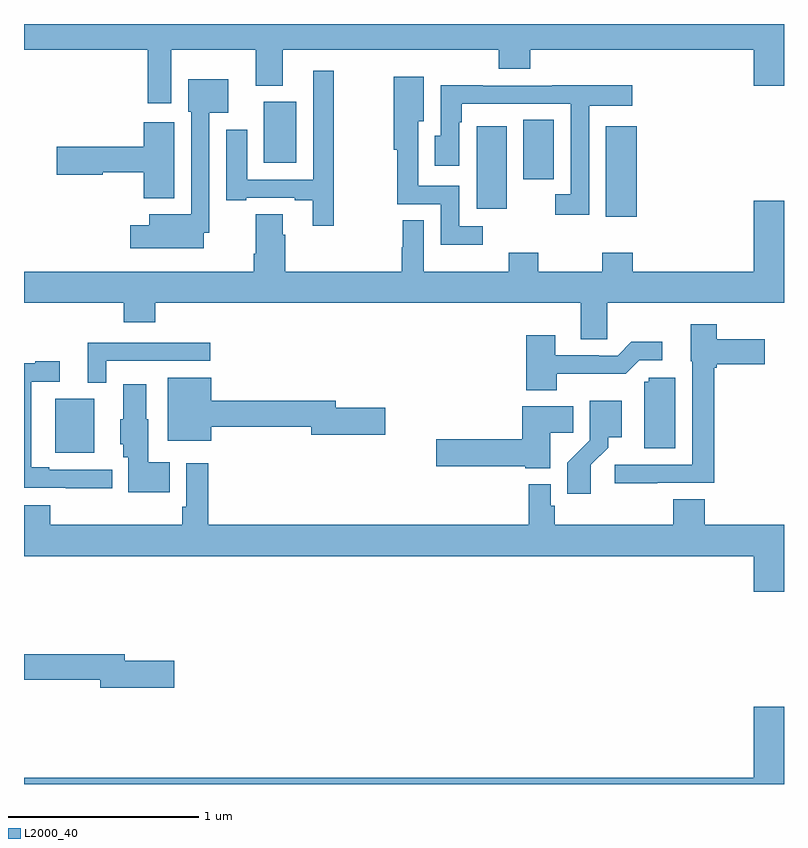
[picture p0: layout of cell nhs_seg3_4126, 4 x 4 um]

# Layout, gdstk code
import gdstk
lib = gdstk.Library(unit=1e-6, precision=1e-09)
def R(c, l, rs):  # rectangles x0, y0, x1, y1
    for r in rs: c.add(gdstk.rectangle(r[:2], r[2:], *l))
def P(c, l, *ps):  # polygons
    for p in ps: c.add(gdstk.Polygon(p, *l))
L2000_40 = (2000, 40)

nhs_seg3_4126 = lib.new_cell('nhs_seg3_4126')
R(nhs_seg3_4126, L2000_40, [(329.165,684.143,329.371,684.427), (332.063,685.386,332.224,685.861), (331.382,685.428,331.54,685.861), (331.628,685.584,331.789,685.895), (330.263,685.67,330.433,685.99)])
P(nhs_seg3_4126, L2000_40, [(329.776,686.264),(330.221,686.264),(330.221,686.075),(330.361,686.075),(330.361,686.264),(331.499,686.264),(331.499,686.165),(331.664,686.165),(331.664,686.264),(332.84,686.264),(332.84,686.076),(333,686.076),(333,686.4),(329,686.4),(329,686.264),(329.651,686.264),(329.651,685.983),(329.776,685.983)],
  [(330.631,686.155),(330.522,686.155),(330.522,685.581),(330.175,685.581),(330.175,685.843),(330.065,685.843),(330.065,685.473),(330.169,685.473),(330.169,685.485),(330.425,685.485),(330.425,685.473),(330.521,685.473),(330.521,685.338),(330.631,685.338)],
  [(331.414,685.335),(331.29,685.335),(331.29,685.548),(331.075,685.548),(331.075,685.889),(331.105,685.889),(331.105,686.122),(330.946,686.122),(330.946,685.737),(330.964,685.737),(330.964,685.452),(331.194,685.452),(331.194,685.238),(331.414,685.238)],
  [(329.947,685.301),(329.976,685.301),(329.976,685.934),(330.076,685.934),(330.076,686.11),(329.864,686.11),(329.864,685.938),(329.88,685.938),(329.88,685.399),(329.66,685.399),(329.66,685.342),(329.559,685.342),(329.559,685.22),(329.947,685.22)],
  [(331.974,685.97),(332.2,685.97),(332.2,686.078),(331.781,686.078),(331.781,686.076),(331.415,686.076),(331.415,686.078),(331.194,686.078),(331.194,685.812),(331.163,685.812),(331.163,685.653),(331.29,685.653),(331.29,685.883),(331.303,685.883),(331.303,685.98),(331.878,685.98),(331.878,685.503),(331.797,685.503),(331.797,685.395),(331.974,685.395)],
  [(329.791,685.882),(329.63,685.882),(329.63,685.754),(329.172,685.754),(329.172,685.607),(329.415,685.607),(329.415,685.619),(329.63,685.619),(329.63,685.484),(329.791,685.484)],
  [(332.07,684.932),(333,684.932),(333,685.471),(332.84,685.471),(332.84,685.096),(332.204,685.096),(332.204,685.195),(332.044,685.195),(332.044,685.096),(331.707,685.096),(331.707,685.195),(331.552,685.195),(331.552,685.096),(331.105,685.096),(331.105,685.367),(330.994,685.367),(330.994,685.224),(330.987,685.224),(330.987,685.096),(330.374,685.096),(330.374,685.292),(330.361,685.292),(330.361,685.4),(330.221,685.4),(330.221,685.192),(330.209,685.192),(330.209,685.096),(329,685.096),(329,684.932),(329.525,684.932),(329.525,684.83),(329.69,684.83),(329.69,684.932),(331.931,684.932),(331.931,684.742),(332.07,684.742)],
  [(332.333,683.985),(332.633,683.985),(332.633,684.59),(332.646,684.59),(332.646,684.608),(332.899,684.608),(332.899,684.742),(332.646,684.742),(332.646,684.82),(332.51,684.82),(332.51,684.624),(332.517,684.624),(332.517,684.081),(332.109,684.081),(332.109,683.983),(332.333,683.983)],
  [(331.803,684.56),(332.167,684.56),(332.238,684.63),(332.359,684.63),(332.359,684.727),(332.197,684.727),(332.124,684.654),(332.024,684.654),(332.024,684.657),(331.795,684.657),(331.795,684.763),(331.643,684.763),(331.643,684.473),(331.803,684.473)],
  [(329.433,684.627),(329.98,684.627),(329.98,684.723),(329.336,684.723),(329.336,684.512),(329.433,684.512)],
  [(329.464,684.054),(329.134,684.054),(329.134,684.067),(329.037,684.067),(329.037,684.516),(329.188,684.516),(329.188,684.625),(329.06,684.625),(329.06,684.614),(329,684.614),(329,683.958),(329.221,683.958),(329.221,683.957),(329.464,683.957)],
  [(329.986,684.28),(330.512,684.28),(330.512,684.238),(330.901,684.238),(330.901,684.38),(330.64,684.38),(330.64,684.416),(329.986,684.416),(329.986,684.538),(329.756,684.538),(329.756,684.206),(329.986,684.206)],
  [(332.428,684.537),(332.289,684.537),(332.289,684.516),(332.264,684.516),(332.264,684.168),(332.428,684.168)],
  [(329.768,684.094),(329.653,684.094),(329.653,684.321),(329.644,684.321),(329.644,684.505),(329.522,684.505),(329.522,684.321),(329.507,684.321),(329.507,684.189),(329.522,684.189),(329.522,684.12),(329.549,684.12),(329.549,683.936),(329.768,683.936)],
  [(331.984,684.079),(332.074,684.169),(332.074,684.224),(332.146,684.224),(332.146,684.418),(331.977,684.418),(331.977,684.209),(331.858,684.09),(331.858,683.928),(331.984,683.928)],
  [(331.771,684.25),(331.892,684.25),(331.892,684.388),(331.622,684.388),(331.622,684.215),(331.17,684.215),(331.17,684.073),(331.638,684.073),(331.638,684.062),(331.771,684.062)],
  [(333,683.764),(332.582,683.764),(332.582,683.9),(332.417,683.9),(332.417,683.764),(331.793,683.764),(331.793,683.865),(331.773,683.865),(331.773,683.977),(331.657,683.977),(331.657,683.764),(329.969,683.764),(329.969,684.088),(329.853,684.088),(329.853,683.86),(329.833,683.86),(329.833,683.764),(329.138,683.764),(329.138,683.866),(329,683.866),(329,683.6),(332.84,683.6),(332.84,683.412),(333,683.412)],
  [(329.791,683.048),(329.53,683.048),(329.53,683.084),(329,683.084),(329,682.948),(329.402,682.948),(329.402,682.906),(329.791,682.906)],
  [(333,682.807),(332.84,682.807),(332.84,682.432),(329,682.432),(329,682.4),(333,682.4)])

lib.write_gds('nhs_seg3_4126.gds')
